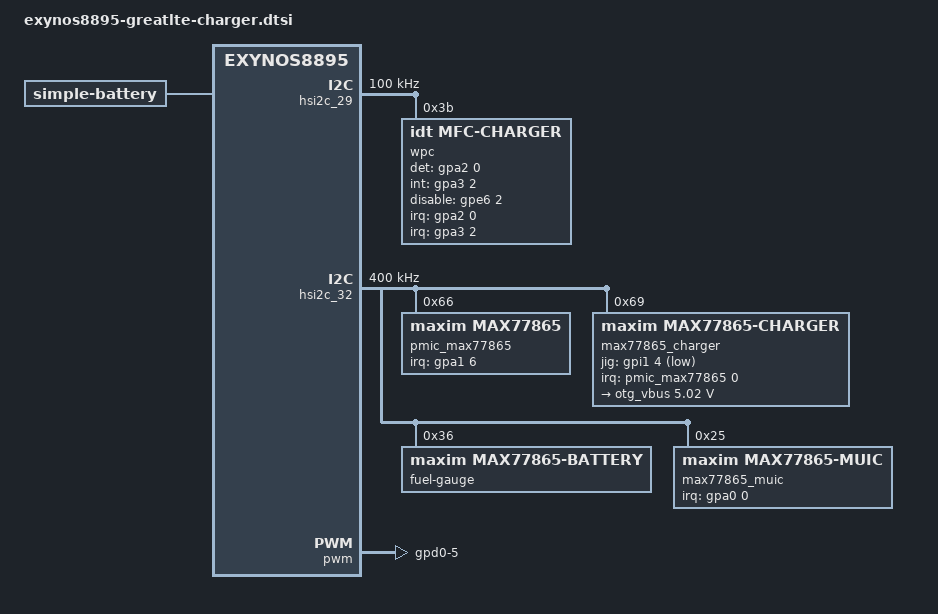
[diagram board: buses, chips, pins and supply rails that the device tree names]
// SPDX-License-Identifier: GPL-2.0 OR BSD-3-Clause
/*
 * Samsung Galaxy Note 8 (SM-N950N) charger and fuel gauge
 */

#include <dt-bindings/gpio/gpio.h>
#include <dt-bindings/interrupt-controller/irq.h>

/ {
	battery: battery {
		compatible = "simple-battery";
		constant-charge-voltage-max-microvolt = <4350000>;
		constant-charge-current-max-microamp = <2100000>;
		charge-full-design-microamp-hours = <3300000>;
	};
};

&hsi2c_29 {
	#address-cells = <1>;
	#size-cells = <0>;
	clock-frequency = <100000>;
	status = "okay";

	wpc: wireless-charger@3b {
		compatible = "idt,mfc-charger";
		reg = <0x3b>;
		pinctrl-names = "default";
		pinctrl-0 = <&wpc_int &wpc_det &wpc_en>;
		interrupts-extended = <&gpa2 0 IRQ_TYPE_EDGE_BOTH>,
				      <&gpa3 2 IRQ_TYPE_EDGE_FALLING>;
		interrupt-names = "wpc-det", "wpc-int";
		det-gpios = <&gpa2 0 GPIO_ACTIVE_HIGH>;
		int-gpios = <&gpa3 2 GPIO_ACTIVE_HIGH>;
		disable-gpios = <&gpe6 2 GPIO_ACTIVE_HIGH>;
		samsung,fod-wpc = /bits/ 8 <0x96 0x34 0x8e 0x2c 0x96 0x1e 0x96 0x16 0xa5 0xeb 0x9c 0x0d>;
		samsung,fod-pma = /bits/ 8 <0x96 0x34 0x8e 0x2c 0x96 0x1e 0x96 0x16 0xa5 0xeb 0x9c 0x0d>;
		samsung,fod-wpc-cv = /bits/ 8 <0x96 0x52 0x8e 0x4a 0x96 0x3c 0x96 0x34 0xa5 0x09 0x9c 0x2b>;
		samsung,fod-pma-cv = /bits/ 8 <0x96 0x52 0x8e 0x4a 0x96 0x3c 0x96 0x34 0xa5 0x09 0x9c 0x2b>;
		samsung,fod-hero-5v = /bits/ 8 <0x96 0x0c 0x8e 0x04 0x96 0xf6 0x96 0xee 0xa5 0xc3 0x9c 0xe5>;
		samsung,rpp-cover = /bits/ 8 <0x44>;
		samsung,rpp-hv = /bits/ 8 <0x40>;
		status = "okay";
	};
};

&hsi2c_32 {
	clock-frequency = <400000>;
	#address-cells = <1>;
	#size-cells = <0>;
	status = "okay";

	pmic_max77865: pmic@66 {
		compatible = "maxim,max77865";
		reg = <0x66>;
		interrupt-parent = <&gpa1>;
		interrupts = <6 IRQ_TYPE_LEVEL_LOW>;
		interrupt-controller;
		#interrupt-cells = <1>;
		wakeup-source;
		pinctrl-names = "default";
		pinctrl-0 = <&max77865_irq &muic_irq>;

		haptic {
			compatible = "maxim,max77865-haptic";
			pwms = <&pwm 1 48828 0>;
			maxim,max-duty-ns = <41503>;
			maxim,max-timeout-ms = <10000>;
			maxim,multi-freq-duty-ns = <41503 48828 39063 29296 32551 37108 37108>;
			maxim,multi-freq-period-ns = <48828 65104 52083 39062 43402 39062 39062>;
		};

		leds {
			compatible = "maxim,max77865-rgb";
			maxim,normal-current = <0x0a>;
			maxim,lowpower-current = <0x0a>;
			maxim,brightness-ratio = <0x2d0 0x46 0x96>;
			maxim,brightness-ratio-low = <0x5a 0x0a 0x14>;
		};
	};

	max77865_charger: charger@69 {
		compatible = "maxim,max77865-charger";
		reg = <0x69>;
		interrupt-parent = <&pmic_max77865>;
		interrupts = <0>;
		samsung,battery-ntc = "battery-ntc";
		samsung,pmu = <&pmu_system_controller>;
		maxim,pmic = <&pmic_max77865>;
		jig-gpios = <&gpi1 4 GPIO_ACTIVE_LOW>;
		samsung,charge-control;

		otg_vbus: usb-otg-vbus {
			regulator-name = "usb_otg_vbus";
			regulator-min-microvolt = <5020000>;
			regulator-max-microvolt = <5020000>;
		};
	};

	fuel-gauge@36 {
		compatible = "maxim,max77865-battery";
		reg = <0x36>;
		maxim,rsns-microohm = <10000>;
		maxim,over-heat-temp = <499>;
		maxim,cold-temp = <1>;
		power-supplies = <&max77865_charger>;
		monitored-battery = <&battery>;
		samsung,battery-ntc = "battery-ntc";
		samsung,capacity-max = <1000>;
		samsung,capacity-max-margin = <300>;
		samsung,capacity-min = <0>;
		samsung,full-condition-microvolt = <4250000>;
		samsung,full-condition-percent = <93>;
		samsung,recharge-condition-microvolt = <4280000>;
		maxim,ttf-cv-data = <0x9b8 0x33d 0x711 0x969 0x340 0x704 0x917 0x345 0x6e9
				     0x8e0 0x348 0x6cf 0x886 0x34e 0x6b9 0x838 0x352 0x69a
				     0x7f6 0x356 0x686 0x79e 0x35b 0x668 0x770 0x35d 0x656
				     0x72e 0x361 0x63a 0x705 0x363 0x628 0x6d5 0x366 0x618
				     0x6a7 0x369 0x5fb 0x693 0x369 0x5f5 0x683 0x36b 0x5eb
				     0x67c 0x36b 0x5e8 0x675 0x36c 0x5e5 0x64f 0x36e 0x5de
				     0x62c 0x370 0x5cb 0x611 0x371 0x5b7 0x608 0x372 0x5b2
				     0x5f0 0x373 0x5ab 0x5c5 0x376 0x590 0x597 0x378 0x581
				     0x574 0x37b 0x567 0x543 0x37e 0x551 0x513 0x380 0x534
				     0x4f3 0x382 0x523 0x4cf 0x386 0x508 0x4b2 0x388 0x4ef
				     0x47c 0x38a 0x4db 0x455 0x38d 0x4bd 0x42b 0x38f 0x4a1
				     0x407 0x392 0x484 0x3f5 0x393 0x474 0x3cf 0x395 0x457
				     0x3c1 0x397 0x43c 0x399 0x399 0x428 0x37c 0x39b 0x40e
				     0x377 0x39b 0x3fb 0x35f 0x39d 0x3ec 0x341 0x39f 0x3d0
				     0x328 0x3a1 0x3b2 0x313 0x3a2 0x396 0x30c 0x3a3 0x388
				     0x2fc 0x3a4 0x37f 0x2e8 0x3a6 0x360 0x2da 0x3a7 0x34e
				     0x2cb 0x3a8 0x33c 0x2b5 0x3a9 0x320 0x2a9 0x3aa 0x30f
				     0x29a 0x3ac 0x2f0 0x28b 0x3ad 0x2df 0x280 0x3ae 0x2c8
				     0x274 0x3b1 0x2b9 0x26e 0x3b2 0x2a7 0x26a 0x3b3 0x298
				     0x258 0x3b6 0x286 0x254 0x3b7 0x273 0x24d 0x3b9 0x266
				     0x248 0x3b9 0x259 0x240 0x3bc 0x23c 0x241 0x3bd 0x229
				     0x232 0x3be 0x217 0x1ff 0x3c8 0x1fa 0x1f9 0x3c9 0x1e7
				     0x1ed 0x3cb 0x1d0 0x1ec 0x3cc 0x1b3 0x1e4 0x3cd 0x1a1
				     0x1e0 0x3cf 0x18e 0x1da 0x3d0 0x17c 0x1d6 0x3d1 0x16c
				     0x1ce 0x3d1 0x163 0x1c8 0x3d2 0x150 0x1c4 0x3d3 0x149
				     0x1be 0x3d5 0x12f 0x1b5 0x3d6 0x11a 0x1ad 0x3d8 0xff
				     0x1a7 0x3d9 0xf2 0x1a6 0x3da 0xe5 0x19e 0x3db 0xd3
				     0x19b 0x3dc 0xc7 0x195 0x3dd 0xbf 0x18d 0x3de 0xab
				     0x187 0x3df 0x8c 0x183 0x3e0 0x7e 0x180 0x3e1 0x6b
				     0x174 0x3e3 0x54 0x16c 0x3e5 0x36 0x164 0x3e6 0x1a
				     0x164 0x3e6 0x0d 0x00 0x3e8 0x00>;
	};

	max77865_muic: muic@25 {
		compatible = "maxim,max77865-muic";
		reg = <0x25>;
		interrupts-extended = <&gpa0 0 IRQ_TYPE_LEVEL_LOW>;
		wakeup-source;
		maxim,afc-initial-tx = /bits/ 8 <0x08>;
		maxim,qc-hv = /bits/ 8 <9>;
	};
};

&pinctrl_alive {
	max77865_irq: max77865-irq-pins {
		samsung,pins = "gpa1-6";
		samsung,pin-function = <EXYNOS_PIN_FUNC_EINT>;
		samsung,pin-pud = <EXYNOS_PIN_PULL_NONE>;
		samsung,pin-drv = <EXYNOS7_PIN_DRV_LV1>;
	};

	muic_irq: muic-irq-pins {
		samsung,pins = "gpa0-0";
		samsung,pin-pud = <EXYNOS_PIN_PULL_NONE>;
		samsung,pin-drv = <EXYNOS7_PIN_DRV_LV1>;
	};

	wpc_int: wpc-int-pins {
		samsung,pins = "gpa3-2";
		samsung,pin-function = <EXYNOS_PIN_FUNC_EINT>;
		samsung,pin-pud = <EXYNOS_PIN_PULL_NONE>;
		samsung,pin-drv = <EXYNOS7_PIN_DRV_LV1>;
	};

	wpc_det: wpc-det-pins {
		samsung,pins = "gpa2-0";
		samsung,pin-function = <EXYNOS_PIN_FUNC_EINT>;
		samsung,pin-pud = <EXYNOS_PIN_PULL_DOWN>;
	};
};

&pinctrl_peric0 {
	pwm_tout1: pwm-tout1-pins {
		samsung,pins = "gpd0-5";
		samsung,pin-function = <EXYNOS_PIN_FUNC_2>;
		samsung,pin-pud = <EXYNOS_PIN_PULL_DOWN>;
		samsung,pin-drv = <EXYNOS7_PIN_DRV_LV1>;
	};
};

&pinctrl_peric1 {
	wpc_en: wpc-en-pins {
		samsung,pins = "gpe6-2";
		samsung,pin-function = <EXYNOS_PIN_FUNC_OUTPUT>;
		samsung,pin-pud = <EXYNOS_PIN_PULL_NONE>;
		samsung,pin-drv = <EXYNOS7_PIN_DRV_LV1>;
	};
};

&pwm {
	pinctrl-names = "default";
	pinctrl-0 = <&pwm_tout1>;
	status = "okay";
};
